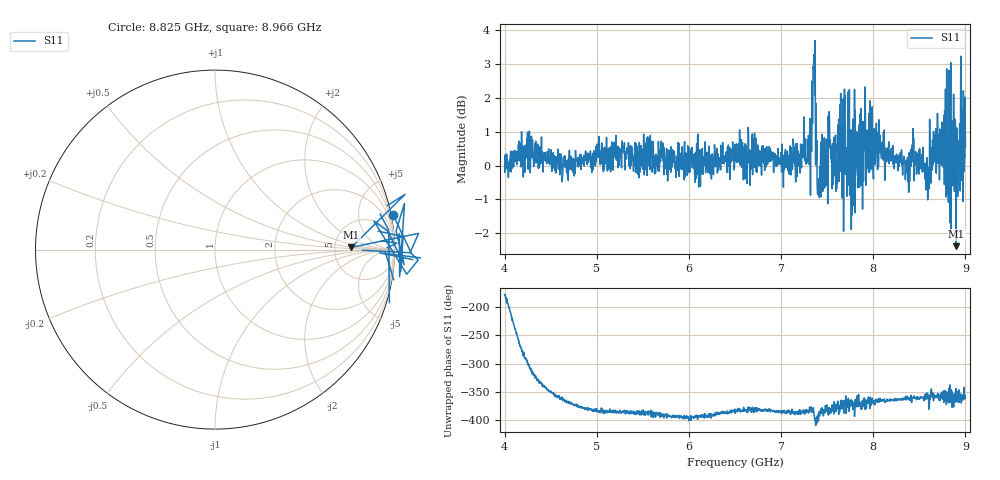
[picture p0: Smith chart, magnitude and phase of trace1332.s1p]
! Created with skrf 1.8.0 (http://scikit-rf.org).
# Hz S RI R 50.0
!freq ReS11 ImS11
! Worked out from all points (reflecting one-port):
!   1601 points, 4 GHz to 9 GHz, reference 50 ohm
!   lowest |S11| = -2.4 dB at 8.9 GHz (marker M1), VSWR 7.32, Z = 365 + j21.4 ohm
!   phase of S11 starts at -179 deg and turns -182 deg over the sweep
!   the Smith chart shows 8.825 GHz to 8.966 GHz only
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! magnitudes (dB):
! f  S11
! 4 GHz  0.0
! 4.247 GHz  1.0
! 4.625 GHz  -0.5
! 5.25 GHz  0.3
! 5.875 GHz  -0.1
! 6.5 GHz  0.6
! 7.125 GHz  0.0
! 7.294 GHz  0.3
! 7.319 GHz  -0.9
! 7.347 GHz  2.9
! 7.362 GHz  3.0
! 7.4 GHz  -0.5
! 7.412 GHz  -0.8
! 7.516 GHz  0.6
! 7.578 GHz  0.3
! 7.653 GHz  0.5
! 7.669 GHz  0.5
! 7.75 GHz  0.0
! 7.769 GHz  -0.6
! 7.928 GHz  0.8
! 8.375 GHz  -0.5
! 8.441 GHz  -0.5
! 8.584 GHz  0.2
! 8.675 GHz  0.1
! 8.788 GHz  -0.5
! 8.9 GHz  -2.4
! 8.972 GHz  0.2
! 9 GHz  0.6
